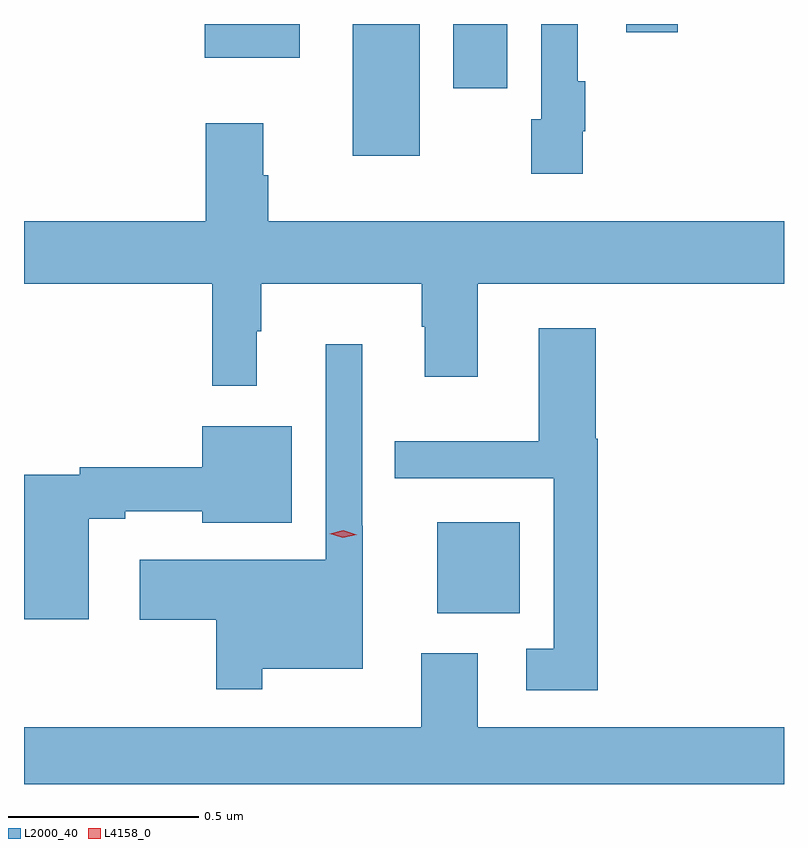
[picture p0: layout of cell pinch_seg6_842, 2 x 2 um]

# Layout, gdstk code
import gdstk
lib = gdstk.Library(unit=1e-6, precision=1e-09)
def R(c, l, rs):  # rectangles x0, y0, x1, y1
    for r in rs: c.add(gdstk.rectangle(r[:2], r[2:], *l))
def P(c, l, *ps):  # polygons
    for p in ps: c.add(gdstk.Polygon(p, *l))
L2000_40 = (2000, 40)
L4158_0 = (4158, 0)

pinch_seg6_842 = lib.new_cell('pinch_seg6_842')
R(pinch_seg6_842, L2000_40, [(233.462,973.109,233.68,973.348), (233.24,974.312,233.416,974.659), (233.504,974.49,233.647,974.659), (232.85,974.57,233.101,974.659), (233.96,974.637,234.095,974.659)])
P(pinch_seg6_842, L2000_40, [(233.845,974.377),(233.852,974.377),(233.852,974.509),(233.832,974.509),(233.832,974.659),(233.736,974.659),(233.736,974.409),(233.71,974.409),(233.71,974.265),(233.845,974.265)],
  [(232.988,973.85),(232.999,973.85),(232.999,973.976),(233.422,973.976),(233.422,973.862),(233.429,973.862),(233.429,973.731),(233.569,973.731),(233.569,973.976),(234.375,973.976),(234.375,974.14),(233.018,974.14),(233.018,974.261),(233.005,974.261),(233.005,974.398),(232.853,974.398),(232.853,974.14),(232.375,974.14),(232.375,973.976),(232.87,973.976),(232.87,973.707),(232.988,973.707)],
  [(233.885,973.567),(233.879,973.567),(233.879,973.858),(233.729,973.858),(233.729,973.561),(233.35,973.561),(233.35,973.464),(233.769,973.464),(233.769,973.015),(233.697,973.015),(233.697,972.906),(233.885,972.906)],
  [(233.002,972.962),(233.267,972.962),(233.267,973.339),(233.265,973.339),(233.265,973.816),(233.169,973.816),(233.169,973.249),(232.68,973.249),(232.68,973.091),(232.881,973.091),(232.881,972.909),(233.002,972.909)],
  [(232.546,973.357),(232.642,973.357),(232.642,973.377),(232.844,973.377),(232.844,973.346),(233.08,973.346),(233.08,973.6),(232.844,973.6),(232.844,973.493),(232.522,973.493),(232.522,973.473),(232.376,973.473),(232.376,973.092),(232.546,973.092)],
  [(234.375,972.808),(233.569,972.808),(233.569,973.003),(233.42,973.003),(233.42,972.808),(232.375,972.808),(232.375,972.659),(234.375,972.659)])
P(pinch_seg6_842, L4158_0, [(233.214,973.307),(233.179,973.318),(233.179,973.318),(233.179,973.318),(233.215,973.327),(233.25,973.315),(233.25,973.315),(233.25,973.315)])

lib.write_gds('pinch_seg6_842.gds')
